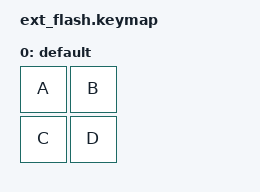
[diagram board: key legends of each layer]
#include <behaviors.dtsi>
#include <dt-bindings/zmk/keys.h>
#include <dt-bindings/zmk/bt.h>
#include <dt-bindings/zmk/outputs.h>

/ {
    keymap {
        compatible = "zmk,keymap";

        default_layer {
            display-name = "default";
            bindings = <
                &kp A    &kp B
                &kp C    &kp D
            >;
        };

        extra1 {
            status = "reserved";
        };

        extra2 {
            status = "reserved";
        };

        extra3 {
            status = "reserved";
        };

        extra4 {
            status = "reserved";
        };

        extra5 {
            status = "reserved";
        };

        extra6 {
            status = "reserved";
        };

        extra7 {
            status = "reserved";
        };

        extra8 {
            status = "reserved";
        };

        extra9 {
            status = "reserved";
        };

        extra10 {
            status = "reserved";
        };
    };
};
